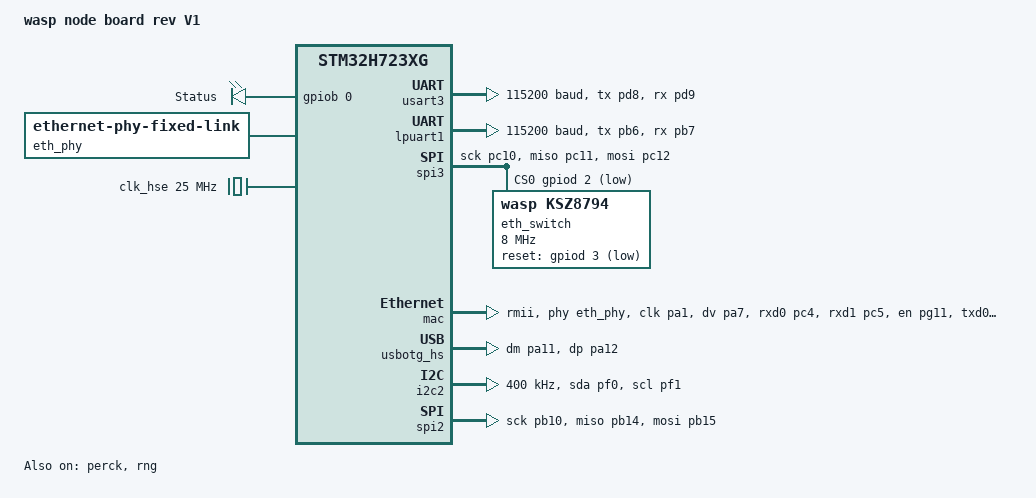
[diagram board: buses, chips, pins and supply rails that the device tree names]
/*
 * wasp node board, rev V1 — STM32H723ZGT6 + KSZ8794CNX 3-port switch
 * + 8 Mbyte quad PSRAM.
 *
 * Copyright (c) 2026 Oskar von Heideken
 * SPDX-License-Identifier: Apache-2.0
 *
 * Every pin here comes from hardware/wasp_node_board/; docs/hardware.md has
 * the design rationale. Three things make this board more than a relabelled
 * Nucleo-H723ZG, and each is commented where it appears:
 *
 *   1. The RMII side is wired MAC-to-MAC into a switch — no PHY, no MDIO.
 *   2. HSE is bypass-fed from that switch's REFCLK0, so the clock tree
 *      depends on the switch coming up first.
 *   3. There is a PSRAM on OCTOSPI1 for WASM linear memory.
 */

/dts-v1/;
#include <st/h7/stm32h723Xg.dtsi>
#include <st/h7/stm32h723zgtx-pinctrl.dtsi>
#include <zephyr/dt-bindings/clock/stm32h7_clock.h>

/ {
	model = "wasp node board rev V1";
	compatible = "wasp,wasp-node";

	chosen {
		zephyr,console = &usart3;
		zephyr,shell-uart = &usart3;
		zephyr,sram = &sram0;
		zephyr,flash = &flash0;
		zephyr,dtcm = &dtcm;
		zephyr,canbus = &fdcan1;
	};

	leds: leds {
		compatible = "gpio-leds";

		status_led: led_0 {
			/* D4, yellow. PB0 drives the anode through R20. */
			gpios = <&gpiob 0 GPIO_ACTIVE_HIGH>;
			label = "Status";
		};
	};

	aliases {
		led0 = &status_led;
	};

	/*
	 * There is no PHY and no MDIO bus on this board. The MCU's RMII pins
	 * run MAC-to-MAC into port 4 of the KSZ8794, and the switch is
	 * configured over SPI3 (see &spi3) instead of MDIO.
	 *
	 * st,stm32-ethernet-common declares phy-handle as required, so the MAC
	 * must be given something. A fixed-link PHY is not a workaround here,
	 * it is the accurate description: the link is a PCB trace at 100M full
	 * duplex with no autonegotiation and no way to go down. phy_fixed_link
	 * reports link-up immediately, which is what brings the carrier on.
	 */
	eth_phy: ethernet-phy {
		compatible = "ethernet-phy-fixed-link";
		default-speeds = "100BASE Full-Duplex";
		status = "okay";
	};
};

/*
 * Clock tree: HSE 25 MHz bypass -> PLL1 -> 550 MHz SYSCLK.
 *
 * HSE here is not a crystal. It is bypass-fed from the KSZ8794's REFCLKO
 * through R26 (R25 selects a DNP oscillator instead), so the MCU's entire
 * clock tree depends on the switch having come up. If REFCLKO were not
 * running, the HSE-ready poll inside SystemClock_Config would spin before
 * any application code executes, and the board would take SWD but never
 * print a character. That risk is why bring-up ran on HSI first; REFCLKO
 * is now confirmed good, since Ethernet works and the RMII 50 MHz on PA1
 * comes out of the same chip.
 *
 * Two things must not be undone here:
 *
 *   - &clk_hsi stays enabled. CKPER feeds SPI2/SPI3's kernel clock (see
 *     &perck and &spi3), and SPI3 is what puts the switch's port 4 into
 *     RMII — which is what makes HSE itself arrive. Disabling HSI breaks
 *     Ethernet, and after the next reset it breaks the clock tree.
 *   - Never assert the switch's RST# while running from HSE: it would
 *     stop the clock the CPU is executing from. That is why
 *     CONFIG_WASP_KSZ8794_HW_RESET defaults to n.
 *
 * To fall back to the HSI-only bring-up tree, set &clk_hse and &pll to
 * "disabled" and point &rcc at <&clk_hsi> with clock-frequency 64 MHz and
 * every prescaler at 1.
 */
&clk_hse {
	hse-bypass;			/* PH0 driven from REFCLKO, PH1 unused */
	clock-frequency = <DT_FREQ_M(25)>;
	status = "okay";
};

/* Kept on for CKPER -> SPI123, not for the system clock. */
&clk_hsi {
	status = "okay";
};

/* USB runs from HSI48 + CRS, so it needs no accurate HSE either. */
&clk_hsi48 {
	status = "okay";
};

&pll {
	div-m = <5>;			/* 25 / 5   =   5   MHz ref (1-16 MHz) */
	mul-n = <110>;			/*  5 * 110 = 550   MHz VCO (wide range) */
	div-p = <1>;			/* SYSCLK    = 550   MHz */
	div-q = <4>;			/* PLL1_Q    = 137.5 MHz -> OCTOSPI */
	div-r = <2>;			/* PLL1_R    = 275   MHz */
	clocks = <&clk_hse>;
	status = "okay";
};

&rcc {
	clocks = <&pll>;
	clock-frequency = <DT_FREQ_M(550)>;
	d1cpre = <1>;
	hpre = <2>;	/* HCLK 275   MHz */
	d1ppre = <2>;	/* APB3 137.5 MHz */
	d2ppre1 = <2>;	/* APB1 137.5 MHz */
	d2ppre2 = <2>;	/* APB2 137.5 MHz */
	d3ppre = <2>;	/* APB4 137.5 MHz */
};

/*
 * CKPER = HSI, feeding SPI2/SPI3 (see &spi3).
 *
 * PLL1_Q now exists and would do, but it is 137.5 MHz: the SPI prescaler
 * is a power of two, so the slowest it could run the switch's bus is
 * 137.5/256 and the useful settings land either side of the part's 25 MHz
 * ceiling. HSI 64 MHz divides to exactly 8 MHz. Keeping CKPER also means
 * the management bus is independent of the PLL, which matters because the
 * PLL's own reference arrives through that switch.
 */
&perck {
	clocks = <&rcc STM32_SRC_HSI_KER CKPER_SEL(0)>;
	status = "okay";
};

/* VCAP is populated (C38, C42), so the core runs from the internal LDO. */
&pwr {
	power-supply = "ldo";
};

/* Console: J9.3 = PD8 (TX), J9.4 = PD9 (RX). A bare ST-Link V2 has no VCP,
 * so this wants a 3V3 USB-TTL dongle on the expansion header. CDC-ACM over
 * the board's own USB-C is the alternative — see boards/wasp_node_cdc.conf.
 */
&usart3 {
	pinctrl-0 = <&usart3_tx_pd8 &usart3_rx_pd9>;
	pinctrl-names = "default";
	current-speed = <115200>;
	status = "okay";
};

/* Second UART on the other header: J8.3 = PB6 (TX), J8.4 = PB7 (RX). */
&lpuart1 {
	pinctrl-0 = <&lpuart1_tx_pb6 &lpuart1_rx_pb7>;
	pinctrl-names = "default";
	current-speed = <115200>;
	status = "okay";
};

/*
 * KSZ8794 management port. The switch is a slave on SPI3 and this is the
 * only way to configure it: broadcast-storm limiting, self-address
 * filtering, and port-4 RMII mode (register 0x56) all go over this bus.
 *
 * ETH_RSTn (PD3) is a plain GPIO rather than a reset-gpios property because
 * there is no switch driver to own it — the app asserts it at boot.
 */
&spi3 {
	pinctrl-0 = <&spi3_sck_pc10 &spi3_miso_pc11 &spi3_mosi_pc12>;
	pinctrl-names = "default";
	cs-gpios = <&gpiod 2 GPIO_ACTIVE_LOW>;
	/*
	 * Take the kernel clock from CKPER (HSI) instead of the SoC default
	 * PLL1_Q, which does not run in build 1. The APB1 gate entry is
	 * unchanged; only the second cell differs from stm32h7.dtsi.
	 */
	clocks = <&rcc STM32_CLOCK(APB1, 15)>,
		 <&rcc STM32_SRC_CKPER SPI123_SEL(4)>;
	status = "okay";

	/*
	 * The switch is an SPI client (R5 pulls SPIQ down to select client
	 * mode). 8 MHz against the part's 25 MHz ceiling; from CKPER = HSI
	 * 64 MHz the SPI prescaler is a power of two, so this is 64/8 exactly.
	 *
	 * reset-gpios is declared but deliberately unused by default — see the
	 * binding and CONFIG_WASP_KSZ8794_HW_RESET. R6/C32 (10k/10uF) already
	 * hold RST# low for ~100 ms at power-on, far past the 10 ms tSR the
	 * datasheet asks for.
	 */
	eth_switch: switch@0 {
		compatible = "wasp,ksz8794";
		reg = <0>;
		spi-max-frequency = <DT_FREQ_M(8)>;
		reset-gpios = <&gpiod 3 GPIO_ACTIVE_LOW>;
		status = "okay";
	};
};

/* RMII to the switch. Pinout is identical to the Nucleo-H723ZG; what differs
 * is the absence of MDIO below.
 */
&mac {
	pinctrl-0 = <&eth_ref_clk_pa1
		     &eth_crs_dv_pa7
		     &eth_rxd0_pc4
		     &eth_rxd1_pc5
		     &eth_tx_en_pg11
		     &eth_txd0_pg13
		     &eth_txd1_pb13>;
	pinctrl-names = "default";
	phy-connection-type = "rmii";
	phy-handle = <&eth_phy>;
	status = "okay";
};

/* Explicitly off: PA2/PC1 are not wired to anything on this board. Left here
 * so nobody re-adds MDIO by pattern-matching against the Nucleo DTS.
 */
&mdio {
	status = "disabled";
};

/* USB-C (J7) — CDC-ACM console and DFU. D- = PA11, D+ = PA12. */
zephyr_udc0: &usbotg_hs {
	pinctrl-0 = <&usb_otg_hs_dm_pa11 &usb_otg_hs_dp_pa12>;
	pinctrl-names = "default";
	status = "okay";
};

/*
 * 8 Mbyte quad PSRAM (U3, APS6404L-3SQR-SN class) for WASM linear memory.
 *
 * DISABLED, and not for want of wiring. Two reasons, both fixable later:
 *
 *   1. drivers/memc/Kconfig.stm32 gates MEMC_STM32_OSPI_PSRAM on
 *      SOC_SERIES_STM32U5X, so the driver does not build for H7 on
 *      Zephyr 4.4.1 at all. Enabling it needs that dependency relaxed and
 *      the driver checked against the H7 OCTOSPI HAL.
 *   2. The OSPI kernel clock defaults to PLL1_Q, and build 1 runs on HSI
 *      with no PLL enabled. Moving to the 550 MHz block above gives
 *      PLL1_Q = 137.5 MHz, which needs dividing down to <= 84 MHz.
 *
 * The values below are derived, not yet measured:
 *   max-frequency  84 MHz, not 133 — the datasheet caps linear bursts that
 *                  cross a 1 KB page boundary at 84 MHz, and memory-mapped
 *                  access cannot avoid crossing them.
 *   st,refresh     tCEM is 8 us; 8 us * 84 MHz = 672 clocks, so 600 leaves
 *                  margin. This bounds transaction length: exceed tCEM and
 *                  the part loses data with no error reported.
 *   rbx            required, for the same page-crossing reason.
 *   burst-length 3 = 1 KB wrap, matching the device page size.
 */
&octospi1 {
	pinctrl-0 = <&octospim_p1_clk_pf10 &octospim_p1_ncs_pg6
		     &octospim_p1_io0_pf8 &octospim_p1_io1_pf9
		     &octospim_p1_io2_pf7 &octospim_p1_io3_pf6>;
	pinctrl-names = "default";
	status = "disabled";

	psram: memory@0 {
		compatible = "st,stm32-ospi-psram";
		reg = <0>;
		size = <DT_SIZE_M(64)>;		/* 64 Mbit = 8 Mbyte */
		max-frequency = <DT_FREQ_M(84)>;
		rbx;
		burst-length = <3>;
		st,csbound = <10>;
		st,refresh = <600>;
		status = "disabled";
	};
};

/* Expansion headers J8/J9. */
&i2c2 {
	pinctrl-0 = <&i2c2_sda_pf0 &i2c2_scl_pf1>;
	pinctrl-names = "default";
	clock-frequency = <I2C_BITRATE_FAST>;
	status = "okay";
};

&spi2 {
	pinctrl-0 = <&spi2_sck_pb10 &spi2_miso_pb14 &spi2_mosi_pb15>;
	pinctrl-names = "default";
	/*
	 * Same reparenting as &spi3, and not optional: SPI123SEL is a single
	 * RCC field shared by SPI1/2/3, so all enabled instances must name the
	 * same source. Left on the default PLL1_Q, spi_stm32_init() fails the
	 * domain-clock select and returns, so SPI2 never initialises.
	 */
	clocks = <&rcc STM32_CLOCK(APB1, 14)>,
		 <&rcc STM32_SRC_CKPER SPI123_SEL(4)>;
	cs-gpios = <&gpiob 12 (GPIO_ACTIVE_LOW | GPIO_PULL_UP)>;
	status = "okay";
};

&fdcan1 {
	pinctrl-0 = <&fdcan1_rx_pd0 &fdcan1_tx_pd1>;
	pinctrl-names = "default";
	/*
	 * Nucleo clocks FDCAN from PLL2_Q. No PLL runs in build 1, so take
	 * the kernel clock from HSE... which is also off. Leave FDCAN's
	 * domain clock at the SoC default and enable the peripheral only
	 * once a PLL exists; CAN is a header convenience, not on the
	 * bring-up path.
	 */
	status = "disabled";
};

&rng {
	status = "okay";
};
